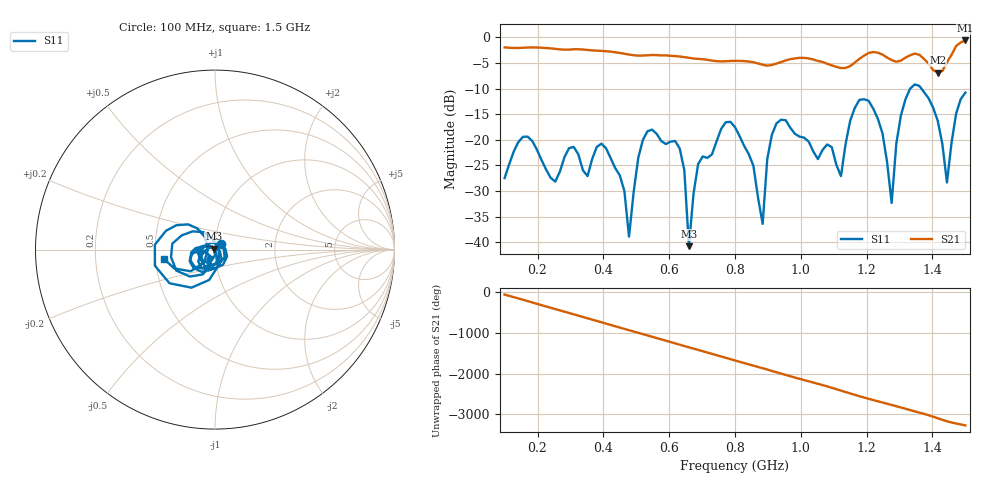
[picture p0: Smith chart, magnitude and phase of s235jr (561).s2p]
! NanoVNA-App
! Date: 2025-09-25 15:08:32
! Start: 100MHz Stop: 1,5GHz Points: 101
! S-Parameter data: F S11 S21 S12 S22
# Hz S RI R 50
!  Frequency  S11_Real  S11_Imag  S21_Real  S21_Imag  S12_Real  S12_Imag  S22_Real  S22_Imag
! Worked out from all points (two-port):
!   101 points, 100 MHz to 1.5 GHz, reference 50 ohm
!   highest |S21| = -0.62 dB at 1.5 GHz (marker M1); lowest = -6.9 dB at 1.416 GHz (marker M2)
!   |S21| within 3 dB of the highest: start of sweep to 606.5 MHz; 1.191 GHz to 1.254 GHz (62.64 MHz wide, 5.12 % of centre) (the widest 2 of 4)
!   lowest |S11| = -40.8 dB at 660 MHz (marker M3), VSWR 1.02, Z = 49.3 + j0.527 ohm
!   |S11| at or under -10 dB: start of sweep to 1.332 GHz; 1.366 GHz to end of sweep
!   S12 and S22 are empty: the file has one direction only
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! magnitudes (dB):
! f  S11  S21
! 100 MHz  -27.5  -2.0
! 156 MHz  -19.4  -2.0
! 338 MHz  -26.0  -2.4
! 408 MHz  -21.6  -2.7
! 478 MHz  -38.9  -3.4
! 520 MHz  -20.1  -3.6
! 576 MHz  -20.2  -3.5
! 632 MHz  -21.7  -3.7
! 660 MHz  -40.8  -4.0
! 688 MHz  -24.7  -4.2
! 800 MHz  -17.5  -4.6
! 884 MHz  -36.4  -5.4
! 898 MHz  -23.8  -5.5
! 926 MHz  -16.8  -5.1
! 1.038 GHz  -22.3  -4.3
! 1.122 GHz  -27.1  -6.0
! 1.206 GHz  -12.4  -3.1
! 1.276 GHz  -32.3  -4.4
! 1.332 GHz  -10.0  -3.5
! 1.416 GHz  -16.3  -6.9
! 1.444 GHz  -28.3  -4.9
! 1.5 GHz  -10.8  -0.6
